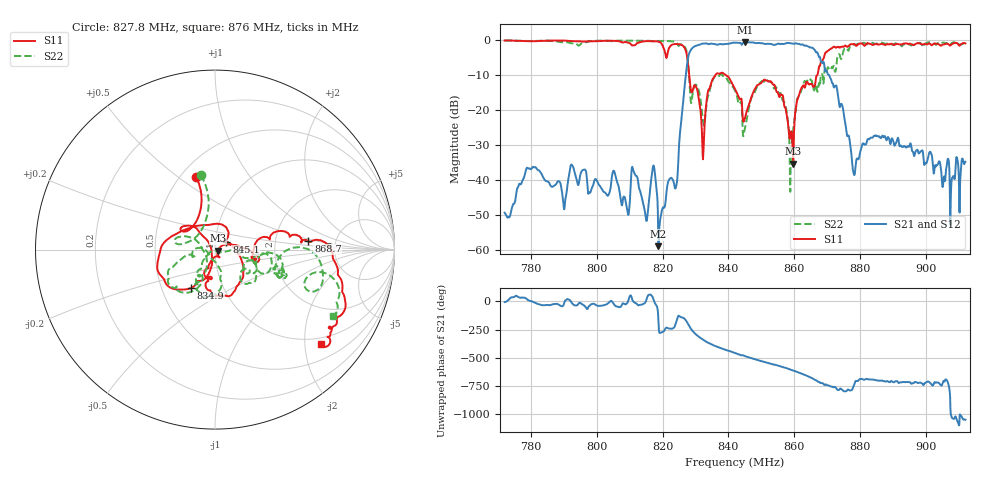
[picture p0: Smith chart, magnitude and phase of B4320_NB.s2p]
! Matrix data file written by TouchstoneData, EPCOS AG
! FILENAME: "AA30A_7_R01C20_NB.snp"
! COMMENT: "(TS/AA30A_7_R01C20_NB.s2p) Epcos AG 7/22/201"
! INFO: nport=2, nfreq=1601
! DATE: "Mon Aug 12 13:21:00 2013"
! USER: "Wee Chuan Tay"
! port | pin | signal
!  1  |  1  |  Input
!  2  |  4  |  Output
# MHZ S RI R 50
! freq  reS11 imS11  reS21 imS21  reS12 imS12  reS22 imS22
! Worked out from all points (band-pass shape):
!   1601 points, 772 MHz to 912 MHz, reference 50 ohm
!   highest |S21| = -0.73 dB at 845 MHz (marker M1); lowest = -58.8 dB at 818.7 MHz (marker M2)
!   |S21| within 3 dB of the highest: 828.1 MHz to 867.1 MHz (38.94 MHz wide, 4.59 % of centre)
!   lowest |S11| = -35.3 dB at 859.7 MHz (marker M3), VSWR 1.04, Z = 51.7 - j0.531 ohm
!   |S11| at or under -10 dB: 828.1 MHz to 836.1 MHz (8.007 MHz wide, 0.962 % of centre); 839.1 MHz to 867.1 MHz (27.99 MHz wide, 3.28 % of centre)
!   |S22| runs from -43.3 to -0.2 dB; largest |S21 - S12| = 0
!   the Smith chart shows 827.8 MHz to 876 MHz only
!   S11 on the Smith chart (normalised r, x): 827.8 MHz: 0.60, +0.58; 834.9 MHz: 0.70, -0.32; 845.1 MHz: 1.13, +0.10; 868.7 MHz: 3.12, +0.42; 876 MHz: 0.84, -2.37
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772  -0.4557 -0.8631  0.00343 -0.000384  0.00343 -0.000384  -0.4239 -0.8793
795.3625  -0.6053 -0.7226  0.0124 -0.00483  0.0124 -0.00483  -0.4501 -0.7647
811.2875  -0.6885 -0.4714  0.013 -0.00144  0.013 -0.00144  -0.7485 -0.6153
814.9625  -0.8454 -0.4416  0.0028 0.00015  0.0028 0.00015  -0.8168 -0.5189
817.2375  -0.8926 -0.3093  0.0155 0.00481  0.0155 0.00481  -0.8444 -0.4336
818.725  -0.9218 -0.1774  -0.00112 -0.000276  -0.00112 -0.000276  -0.8759 -0.3842
824.0625  -0.8636 0.0568  -0.00785 0.0015  -0.00785 0.0015  -0.9167 0.1053
827.825  -0.1041 0.4019  -0.5206 0.2507  -0.5206 0.2507  -0.0784 0.4163
829.575  -0.1922 0.1117  0.1047 0.7911  0.1047 0.7911  -0.2094 0.031
832.2875  -0.0191 -0.00552  0.8253 0.302  0.8253 0.302  -0.069 0.00115
834.9125  -0.1343 -0.2145  0.815 -0.327  0.815 -0.327  -0.1064 -0.2203
842  -0.1642 0.1123  -0.1283 -0.9003  -0.1283 -0.9003  -0.1828 -0.0487
844.975  0.0595 0.0454  -0.5242 -0.755  -0.5242 -0.755  -0.0185 -0.0506
845.0625  0.0639 0.0439  -0.5369 -0.7459  -0.5369 -0.7459  -0.0157 -0.0538
851.7125  0.0417 -0.2583  -0.8727 0.0526  -0.8727 0.0526  -0.0692 -0.2577
859.675  0.0164 -0.00513  -0.257 0.8423  -0.257 0.8423  0.0512 -0.0133
865.3625  0.2285 -0.0528  0.5873 0.4962  0.5873 0.4962  0.1698 -0.1916
868.6875  0.5199 0.0489  0.4613 -0.0515  0.4613 -0.0515  0.2566 -0.1327
876.0375  0.5903 -0.5262  0.0149 -0.0408  0.0149 -0.0408  0.6552 -0.3714
878.225  0.5622 -0.6621  0.0113 -0.00355  0.0113 -0.00355  0.6827 -0.5215
888.725  0.3358 -0.7904  0.0396 0.00416  0.0396 0.00416  0.3381 -0.8067
912  0.1155 -0.8803  0.0158 0.00916  0.0158 0.00916  0.1104 -0.8769
